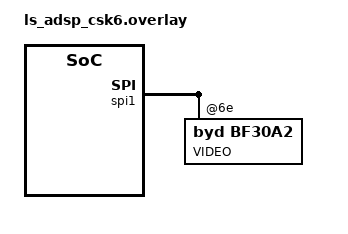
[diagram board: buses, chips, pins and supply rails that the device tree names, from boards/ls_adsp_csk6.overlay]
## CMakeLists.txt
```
# SPDX-License-Identifier: Apache-2.0

cmake_minimum_required(VERSION 3.20.0)

if("${BOARD}" STREQUAL "ls_adsp_csk6")
set(ENV{XCC_USE_CLANG} "1")
set(ENV{ZEPHYR_TOOLCHAIN_VARIANT} "xcc")
endif()

find_package(Zephyr REQUIRED HINTS $ENV{ZEPHYR_BASE})
project(hello_world)

target_sources(app PRIVATE src/main.c)
```

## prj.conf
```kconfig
CONFIG_SPI=y

CONFIG_KERNEL_MEM_POOL=y
CONFIG_STDOUT_CONSOLE=y
CONFIG_PRINTK=y

# CONFIG_LOG=y
# CONFIG_LOG_PRINTK=y
CONFIG_LOG_MODE_MINIMAL=y
CONFIG_LOG_MODE_IMMEDIATE=y

CONFIG_SPI_SLAVE=y
CONFIG_SPI_RX_DMA=y
CONFIG_HEAP_MEM_POOL_SIZE=81920
CONFIG_MAIN_STACK_SIZE=40960

CONFIG_VIDEO=y
CONFIG_VIDEO_BF30A2=y

CONFIG_VIDEO_BUFFER_POOL_SZ_MAX=30720

# CONFIG_UART_INTERRUPT_DRIVEN=y
CONFIG_UART_ASYNC_API=y
CONFIG_IPM=y

# CONFIG_ASSERT=y
# CONFIG_ASSERT_LEVEL=2
# CONFIG_SPIN_VALIDATE=y

CONFIG_TICKLESS_KERNEL=y

CONFIG_SPIN_VALIDATE=n

CONFIG_SYS_CLOCK_TICKS_PER_SEC=1000

CONFIG_USE_SWITCH=n
CONFIG_MULTITHREADING=y
```

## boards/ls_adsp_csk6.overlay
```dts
&ls_adsp_csk6_pinctrl{

		pinctrl_spi1_sclk_default: spi1_sclk_default {
            pinctrls = < &pinmuxb 0 7 >;
		};

		pinctrl_spi1_mosi_default: spi1_mosi_default {
            pinctrls = < &pinmuxb 1 7 >;
		};

		pinctrl_spi1_miso_default: spi1_miso_default {
            pinctrls = < &pinmuxa 1 7 >;
		};

        pinctrl_spi1_cs_default: spi1_cs_default {
            pinctrls = < &pinmuxa 9 7 >;
		};

        pinctrl_uart2_rx_default: uart2_rx_default {
			pinctrls = < &pinmuxb 7 3 >;
		};

		pinctrl_uart2_tx_default: uart2_tx_default {
			pinctrls = < &pinmuxa 18 3 >;
		};

};

&spi1 {
        status = "okay";
        spi-max-frequency = <25000000>;
		pinctrl-0 = <&pinctrl_spi1_sclk_default &pinctrl_spi1_mosi_default &pinctrl_spi1_miso_default &pinctrl_spi1_cs_default>; 
		pinctrl-names = "default";

        bf30a2: bf30a2@6e {
            compatible = "byd,bf30a2";
            status = "okay";
            label = "VIDEO";
            reg = <0x6e>;
            csk6-spec;
    };
};
```

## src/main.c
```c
/*
 * Copyright (c) 2012-2014 Wind River Systems, Inc.
 *
 * SPDX-License-Identifier: Apache-2.0
 */

#include <zephyr.h>
#include <sys/printk.h>

#include <drivers/video.h>
#include <drivers/uart.h>
#include <device.h>
#include <drivers/ipm.h>

#include <string.h>

#define VIDEO_DEV DT_LABEL(DT_INST(0, byd_bf30a2))

#define UART2_DEV DT_LABEL(DT_INST(0, listenai_csk_uart))

static void ipm_callback(const struct device *dev, void *context, uint32_t id, volatile void *data)
{
	printk("id=%d.\n", id);
}

void main(void)
{
	const struct device *video = device_get_binding(VIDEO_DEV);
	const struct device *ipm = DEVICE_DT_GET(DT_NODELABEL(mailbox0));
	struct video_buffer *vbuf;
	int ret;

	printk("Hello World! %s\n", CONFIG_BOARD);

	if (!device_is_ready(ipm)) {
		printk("ipm device is null.\n");
		return;
	}

	if (video == NULL) {
		printk("video device is null.\n");
		return;
	}

	int x = 0;

	/* Send msg to ap core to start the video stream */
	ipm_register_callback(ipm, ipm_callback, NULL);
	ipm_set_enabled(ipm, 1);
	ipm_send(ipm, 1, 0, &x, sizeof(x));

	/* Start video capture */
	if (video_stream_start(video)) {
		printk("Unable to start video.\n");
		return;
	}
	printk("start video steam.\n");

	uint32_t last_tick = 0;
	while (1) {
		ret = video_dequeue(video, VIDEO_EP_OUT, &vbuf, K_MSEC(2000));
		if (ret == 0) {
			if (vbuf->timestamp - last_tick > 0) {
				printk("FPS:%d.\n", 1000 / (vbuf->timestamp - last_tick));
			}
			last_tick = vbuf->timestamp;
		} else {
			printk("recv frame timeout.\n");
		}
	}
}
```
